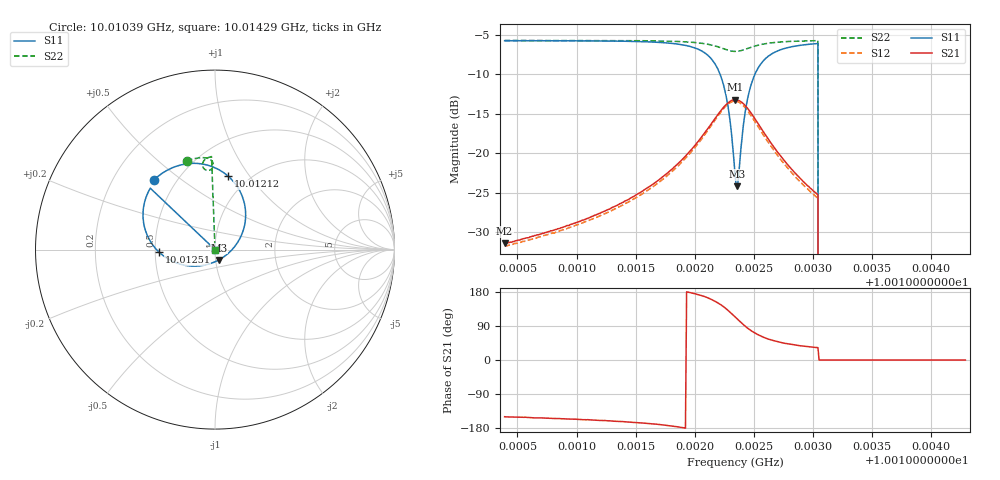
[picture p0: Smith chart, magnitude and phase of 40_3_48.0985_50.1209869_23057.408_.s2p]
#  HZ  S  RI  R  50.00
! Rohde & Schwarz Vector Network Analyzer
! Rohde-Schwarz,ZNB20-2Port,1311601062101988,3.16
! Created: UTC 12/23/2023, 3:38:38 AM
! freq[Hz]  re:S11  im:S11  re:S21  im:S21  re:S12  im:S12  re:S22  im:S22
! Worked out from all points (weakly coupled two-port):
!   401 points, 10.01039 GHz to 10.01429 GHz, reference 50 ohm
!   highest |S21| = -13.20 dB at 10.01234 GHz (marker M1); lowest = -31.5 dB at 10.01039 GHz (marker M2)
!   lowest |S11| = -24.2 dB at 10.01236 GHz (marker M3), VSWR 1.13, Z = 51.9 - j6 ohm
!   |S11| at or under -10 dB: 10.01222 GHz to 10.01251 GHz (293.8 kHz wide, 0.00293 % of centre); 10.01304 GHz to end of sweep
!   |S22| runs from - to -5.7 dB; largest |S21 - S12| = 0.01
!   S11 on the Smith chart (normalised r, x): 10.01039 GHz: 0.38, +0.40; 10.01212 GHz: 0.81, +0.80; 10.01251 GHz: 0.52, -0.01; 10.01429 GHz: 1.00, +0.00
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1.0010391e10  -0.3414 0.3889  -0.0231 -0.0135  -0.0215 -0.0141  -0.1568 0.4953
1.0011044e10  -0.2847 0.4315  -0.0346 -0.0145  -0.0324 -0.0157  -0.1131 0.5069
1.0011697e10  -0.1692 0.4762  -0.0668 -0.0116  -0.0637 -0.0148  -0.0617 0.5123
1.001197e10  -0.0459 0.4717  -0.1051 0.00505  -0.102 -0.000644  -0.0327 0.5056
1.0012117e10  0.0747 0.408  -0.1391 0.0417  -0.1377 0.0336  -0.015 0.4906
1.0012195e10  0.1459 0.3111  -0.1532 0.0852  -0.1543 0.0751  -0.00948 0.4744
1.0012253e10  0.1708 0.1878  -0.149 0.1322  -0.1517 0.1235  -0.0125 0.4581
1.0012292e10  0.1511 0.0892  -0.1304 0.1666  -0.1347 0.1584  -0.0202 0.448
1.0012341e10  0.0695 -0.025  -0.0881 0.2001  -0.093 0.1929  -0.036 0.4413
1.001236e10  0.0218 -0.0576  -0.0676 0.2071  -0.0725 0.2001  -0.043 0.4414
1.001237e10  -0.00362 -0.0696  -0.0575 0.2089  -0.0617 0.2022  -0.0466 0.4421
1.0012409e10  -0.1121 -0.0923  -0.0149 0.2066  -0.0194 0.2001  -0.0586 0.4482
1.0012438e10  -0.187 -0.083  0.0127 0.196  0.00714 0.1897  -0.0649 0.4552
1.0012507e10  -0.3132 -0.0125  0.0524 0.1584  0.0463 0.1532  -0.0698 0.4734
1.0012575e10  -0.3744 0.0731  0.0676 0.1216  0.0606 0.1183  -0.0663 0.4879
1.0012663e10  -0.3995 0.1638  0.0692 0.0874  0.0629 0.0854  -0.0575 0.5002
1.0012809e10  -0.3932 0.2611  0.0606 0.0538  0.0556 0.0532  -0.0417 0.5111
1.0012994e10  -0.3675 0.3297  0.0488 0.0327  0.0448 0.0332  -0.0238 0.5171
1.0013023e10  -0.3634 0.3374  0.0469 0.0308  0.0432 0.0311  -0.0211 0.5177
1.0013072e10  0 0  0 0  0 0  0 0
1.0013647e10  0 0  0 0  0 0  0 0
1.0014291e10  0 0  0 0  0 0  0 0
